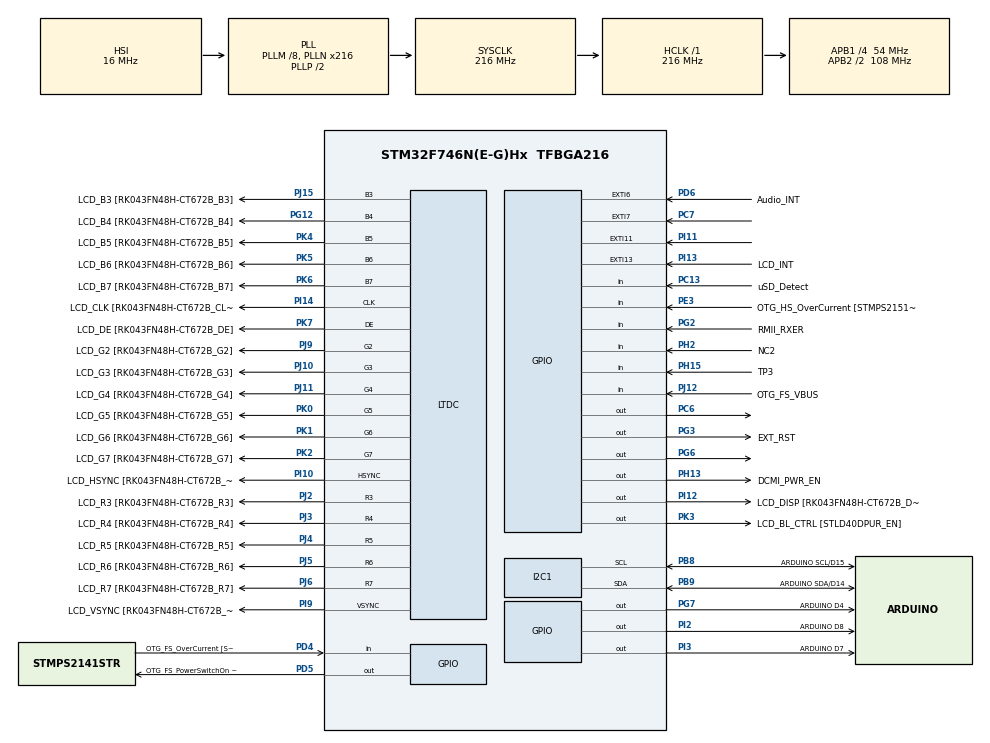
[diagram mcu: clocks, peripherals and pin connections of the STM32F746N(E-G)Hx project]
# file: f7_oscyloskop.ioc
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CORTEX_M7.ART_ACCLERATOR_ENABLE=0
CORTEX_M7.CPU_DCache=Disabled
CORTEX_M7.CPU_ICache=Disabled
CORTEX_M7.FlashInterface=AXI_Enabled
CORTEX_M7.MPU_Control=__NULL
CORTEX_M7.PREFETCH_ENABLE=0
LTDC.ActiveH=272
LTDC.ActiveW=480
LTDC.Blue=0
LTDC.Green=0
LTDC.HBP=13
LTDC.HFP=32
LTDC.HSync=41
LTDC.Red=0
LTDC.VSync=10
Mcu.Family=STM32F7
Mcu.Name=STM32F746N(E-G)Hx
Mcu.Package=TFBGA216
NVIC.EXTI15_10_IRQn=true\:0\:0\:false\:false\:true
NVIC.EXTI9_5_IRQn=true\:1\:0\:true\:false\:true
NVIC.PriorityGroup=NVIC_PRIORITYGROUP_4
NVIC.TIM6_DAC_IRQn=true\:1\:0\:true\:false\:true
NVIC.TIM7_IRQn=true\:1\:0\:true\:false\:true
PA0/WKUP.GPIO_Label=ARDUINO A0
PA0/WKUP.GPIO_Mode=GPIO_MODE_ANALOG
PA0/WKUP.GPIO_PuPd=GPIO_NOPULL
PA0/WKUP.Signal=ADCx_IN0
PA1.GPIO_Label=RMII_REF_CLK [LAN8742A-CZ-TR_REFCLK0]
PA1.Signal=ETH_REF_CLK
PA10.GPIO_Label=OTG_FS_ID
PA10.Signal=USB_OTG_FS_ID
PA11.GPIO_Label=OTG_FS_N
PA11.Signal=USB_OTG_FS_DM
PA12.GPIO_Label=OTG_FS_P
PA12.Signal=USB_OTG_FS_DP
PA13.GPIO_Label=SWDIO
PA13.Signal=SYS_JTMS-SWDIO
PA14.GPIO_Label=SWCLK
PA14.Signal=SYS_JTCK-SWCLK
PA15.GPIO_Label=ARDUINO PWM/D9
PA15.GPIO_ModeDefaultPP=GPIO_MODE_AF_PP
PA15.GPIO_PuPd=GPIO_NOPULL
PA15.GPIO_Speed=GPIO_SPEED_FREQ_LOW
PA15.Signal=S_TIM2_CH1_ETR
PA2.GPIO_Label=RMII_MDIO [LAN8742A-CZ-TR_MDIO]
PA2.Signal=ETH_MDIO
PA3.GPIO_Label=ULPI_D0 [USB3320C-EZK_D0]
PA3.Signal=USB_OTG_HS_ULPI_D0
PA4.GPIO_Label=DCMI_HSYNC
PA4.Signal=DCMI_HSYNC
PA5.GPIO_Label=ULPI_CLK [USB3320C-EZK_CLKOUT]
PA5.Signal=USB_OTG_HS_ULPI_CK
PA6.Signal=DCMI_PIXCLK
PA7.GPIO_Label=RMII_CRS_DV [LAN8742A-CZ-TR_CRS_DV]
PA7.Signal=ETH_CRS_DV
PA8.GPIO_Label=ARDUINO PWM/D5
PA8.GPIO_ModeDefaultPP=GPIO_MODE_AF_PP
PA8.GPIO_PuPd=GPIO_NOPULL
PA8.GPIO_Speed=GPIO_SPEED_FREQ_LOW
PA8.Signal=S_TIM1_CH1
PA9.GPIO_Label=VCP_TX [STM32F103CBT6_PA3]
PA9.GPIO_Mode=GPIO_MODE_AF_PP
PA9.GPIO_PuPd=GPIO_NOPULL
PA9.GPIO_Speed=GPIO_SPEED_FREQ_LOW
PA9.Signal=USART1_TX
PB0.GPIO_Label=ULPI_D1 [USB3320C-EZK_D1]
PB0.Signal=USB_OTG_HS_ULPI_D1
PB1.GPIO_Label=ULPI_D2 [USB3320C-EZK_D2]
PB1.Signal=USB_OTG_HS_ULPI_D2
PB10.GPIO_Label=ULPI_D3 [USB3320C-EZK_D3]
PB10.Signal=USB_OTG_HS_ULPI_D3
PB11.GPIO_Label=ULPI_D4 [USB3320C-EZK_D4]
PB11.Signal=USB_OTG_HS_ULPI_D4
PB12.GPIO_Label=ULPI_D5 [USB3320C-EZK_D5]
PB12.Signal=USB_OTG_HS_ULPI_D5
PB13.GPIO_Label=ULPI_D6 [USB3320C-EZK_D6]
PB13.Signal=USB_OTG_HS_ULPI_D6
PB14.GPIO_Label=ARDUINO MISO/D12
PB14.GPIO_Mode=GPIO_MODE_AF_PP
PB14.GPIO_PuPd=GPIO_NOPULL
PB14.GPIO_Speed=GPIO_SPEED_FREQ_LOW
PB14.Signal=SPI2_MISO
PB15.GPIO_Label=ARDUINO MOSI/PWM/D11
PB15.GPIO_Mode=GPIO_MODE_AF_PP
PB15.GPIO_PuPd=GPIO_NOPULL
PB15.GPIO_Speed=GPIO_SPEED_FREQ_LOW
PB15.Signal=SPI2_MOSI
PB2.Signal=QUADSPI_CLK
PB3.GPIO_Label=SWO
PB3.Signal=SYS_JTDO-SWO
PB4.GPIO_Label=ARDUINO PWM/D3
PB4.GPIO_ModeDefaultPP=GPIO_MODE_AF_PP
PB4.GPIO_PuPd=GPIO_NOPULL
PB4.GPIO_Speed=GPIO_SPEED_FREQ_LOW
PB4.Signal=S_TIM3_CH1
PB5.GPIO_Label=ULPI_D7 [USB3320C-EZK_D7]
PB5.Signal=USB_OTG_HS_ULPI_D7
PB6.GPIO_Label=QSPI_NCS [N25Q128A13EF840E_S]
PB6.Signal=QUADSPI_BK1_NCS
PB7.GPIO_Label=VCP_RX [STM32F103CBT6_PA2]
PB7.GPIO_Mode=GPIO_MODE_AF_PP
PB7.GPIO_PuPd=GPIO_NOPULL
PB7.GPIO_Speed=GPIO_SPEED_FREQ_LOW
PB7.Signal=USART1_RX
PB8.GPIO_Label=ARDUINO SCL/D15
PB8.GPIO_Mode=GPIO_MODE_AF_OD
PB8.GPIO_PuPd=GPIO_NOPULL
PB8.GPIO_Speed=GPIO_SPEED_FREQ_LOW
PB8.Mode=I2C
PB8.Signal=I2C1_SCL
PB9.GPIO_Label=ARDUINO SDA/D14
PB9.GPIO_Mode=GPIO_MODE_AF_OD
PB9.GPIO_PuPd=GPIO_NOPULL
PB9.GPIO_Speed=GPIO_SPEED_FREQ_LOW
PB9.Mode=I2C
PB9.Signal=I2C1_SDA
PC0.GPIO_Label=ULPI_STP [USB3320C-EZK_STP]
PC0.Signal=USB_OTG_HS_ULPI_STP
PC1.GPIO_Label=RMII_MDC [LAN8742A-CZ-TR_MDC]
PC1.Signal=ETH_MDC
PC10.GPIO_Label=SDMMC_D2
PC10.Signal=SDMMC1_D2
PC11.GPIO_Label=SDMMC_D3
PC11.Signal=SDMMC1_D3
PC12.GPIO_Label=SDMMC_CK
PC12.Signal=SDMMC1_CK
PC13.GPIO_Label=uSD_Detect
PC13.Signal=GPIO_Input
PC14/OSC32_IN.GPIO_Label=RCC_OSC32_IN
PC14/OSC32_IN.Signal=RCC_OSC32_IN
PC15/OSC32_OUT.GPIO_Label=RCC_OSC32_OUT
PC15/OSC32_OUT.Signal=RCC_OSC32_OUT
PC2.GPIO_Label=ULPI_DIR [USB3320C-EZK_DIR]
PC2.Signal=USB_OTG_HS_ULPI_DIR
PC3.GPIO_Label=FMC_SDCKE0 [MT48LC4M32B2B5-6A_CKE]
PC3.Signal=FMC_SDCKE0
PC4.GPIO_Label=RMII_RXD0 [LAN8742A-CZ-TR_RXD0]
PC4.Signal=ETH_RXD0
PC5.GPIO_Label=RMII_RXD1 [LAN8742A-CZ-TR_RXD1]
PC5.Signal=ETH_RXD1
PC6.Signal=GPIO_Output
PC7.GPIO_ModeDefaultEXTI=GPIO_MODE_IT_RISING_FALLING
PC7.Signal=GPXTI7
PC8.Signal=SDMMC1_D0
PC9.Signal=SDMMC1_D1
PD0.GPIO_Label=FMC_D2 [MT48LC4M32B2B5-6A_DQ2]
PD0.Signal=FMC_D2_DA2
PD1.GPIO_Label=FMC_D3 [MT48LC4M32B2B5-6A_DQ3]
PD1.Signal=FMC_D3_DA3
PD10.GPIO_Label=FMC_D15 [MT48LC4M32B2B5-6A_DQ15]
PD10.Signal=FMC_D15_DA15
PD11.GPIO_Label=QSPI_D0 [N25Q128A13EF840E_DQ0]
PD11.Signal=QUADSPI_BK1_IO0
PD12.GPIO_Label=QSPI_D1 [N25Q128A13EF840E_DQ1]
PD12.Signal=QUADSPI_BK1_IO1
PD13.GPIO_Label=QSPI_D3 [N25Q128A13EF840E_DQ3]
PD13.Signal=QUADSPI_BK1_IO3
PD14.GPIO_Label=FMC_D0 [MT48LC4M32B2B5-6A_DQ0]
PD14.Signal=FMC_D0_DA0
PD15.GPIO_Label=FMC_D1 [MT48LC4M32B2B5-6A_DQ1]
PD15.Signal=FMC_D1_DA1
PD2.GPIO_Label=SDMMC_D0
PD2.Signal=SDMMC1_CMD
PD3.GPIO_Label=DCMI_D5
PD3.Signal=DCMI_D5
PD4.GPIO_Label=OTG_FS_OverCurrent [STMPS2141STR_Fault]
PD4.Signal=GPIO_Input
PD5.GPIO_Label=OTG_FS_PowerSwitchOn [STMPS2141STR_EN]
PD5.Signal=GPIO_Output
PD6.GPIO_Label=Audio_INT
PD6.GPIO_ModeDefaultEXTI=GPIO_MODE_EVT_RISING
PD6.Signal=GPXTI6
PD7.GPIO_Label=SPDIF_RX0 [74LVC1G04SE_4]
PD7.Signal=SPDIFRX_IN0
PD8.GPIO_Label=FMC_D13 [MT48LC4M32B2B5-6A_DQ13]
PD8.Signal=FMC_D13_DA13
PD9.GPIO_Label=FMC_D14 [MT48LC4M32B2B5-6A_DQ14]
PD9.Signal=FMC_D14_DA14
PE0.GPIO_Label=FMC_NBL0 [MT48LC4M32B2B5-6A_DQM0]
PE0.Signal=FMC_NBL0
PE1.GPIO_Label=FMC_NBL1 [MT48LC4M32B2B5-6A_DQM1]
PE1.Signal=FMC_NBL1
PE10.GPIO_Label=FMC_D7 [MT48LC4M32B2B5-6A_DQ7]
PE10.Signal=FMC_D7_DA7
PE11.GPIO_Label=FMC_D8 [MT48LC4M32B2B5-6A_DQ8]
PE11.Signal=FMC_D8_DA8
PE12.GPIO_Label=FMC_D9 [MT48LC4M32B2B5-6A_DQ9]
PE12.Signal=FMC_D9_DA9
PE13.GPIO_Label=FMC_D10 [MT48LC4M32B2B5-6A_DQ10]
PE13.Signal=FMC_D10_DA10
PE14.GPIO_Label=FMC_D11 [MT48LC4M32B2B5-6A_DQ11]
PE14.Signal=FMC_D11_DA11
PE15.GPIO_Label=FMC_D12 [MT48LC4M32B2B5-6A_DQ12]
PE15.Signal=FMC_D12_DA12
PE2.GPIO_Label=QSPI_D2 [N25Q128A13EF840E_DQ2]
PE2.Signal=QUADSPI_BK1_IO2
PE3.GPIO_Label=OTG_HS_OverCurrent [STMPS2151STR_FAULT]
PE3.Signal=GPIO_Input
PE4.GPIO_Label=LCD_B0 [RK043FN48H-CT672B_B0]
PE4.Signal=LTDC_B0
PE5.GPIO_Label=DCMI_D6
PE5.Signal=DCMI_D6
PE6.GPIO_Label=DCMI_D7
PE6.Signal=DCMI_D7
PE7.GPIO_Label=FMC_D4 [MT48LC4M32B2B5-6A_DQ4]
PE7.Signal=FMC_D4_DA4
PE8.GPIO_Label=FMC_D5 [MT48LC4M32B2B5-6A_DQ5]
PE8.Signal=FMC_D5_DA5
PE9.GPIO_Label=FMC_D6 [MT48LC4M32B2B5-6A_DQ6]
PE9.Signal=FMC_D6_DA6
PF0.GPIO_Label=FMC_A0 [MT48LC4M32B2B5-6A_A0]
PF0.Signal=FMC_A0
PF1.GPIO_Label=FMC_A1 [MT48LC4M32B2B5-6A_A1]
PF1.Signal=FMC_A1
PF10.GPIO_Label=ARDUINO A1
PF10.GPIO_Mode=GPIO_MODE_ANALOG
PF10.GPIO_PuPd=GPIO_NOPULL
PF10.Signal=ADC3_IN8
PF11.GPIO_Label=FMC_SDNRAS [MT48LC4M32B2B5-6A_RAS]
PF11.Signal=FMC_SDNRAS
PF12.GPIO_Label=FMC_A6 [MT48LC4M32B2B5-6A_A6]
PF12.Signal=FMC_A6
PF13.GPIO_Label=FMC_A7 [MT48LC4M32B2B5-6A_A7]
PF13.Signal=FMC_A7
PF14.GPIO_Label=FMC_A8 [MT48LC4M32B2B5-6A_A8]
PF14.Signal=FMC_A8
PF15.GPIO_Label=FMC_A9 [MT48LC4M32B2B5-6A_A9]
PF15.Signal=FMC_A9
PF2.GPIO_Label=FMC_A2 [MT48LC4M32B2B5-6A_A2]
PF2.Signal=FMC_A2
PF3.GPIO_Label=FMC_A3 [MT48LC4M32B2B5-6A_A3]
PF3.Signal=FMC_A3
PF4.GPIO_Label=FMC_A4 [MT48LC4M32B2B5-6A_A4]
PF4.Signal=FMC_A4
PF5.GPIO_Label=FMC_A5 [MT48LC4M32B2B5-6A_A5]
PF5.Signal=FMC_A5
PF6.GPIO_Label=ARDUINO A5
PF6.GPIO_Mode=GPIO_MODE_ANALOG
PF6.GPIO_PuPd=GPIO_NOPULL
PF6.Signal=ADC3_IN4
PF7.GPIO_Label=ARDUINO A4
PF7.GPIO_Mode=GPIO_MODE_ANALOG
PF7.GPIO_PuPd=GPIO_NOPULL
PF7.Signal=ADC3_IN5
PF8.GPIO_Label=ARDUINO A3
PF8.GPIO_Mode=GPIO_MODE_ANALOG
PF8.GPIO_PuPd=GPIO_NOPULL
PF8.Signal=ADC3_IN6
PF9.GPIO_Label=ARDUINO A2
PF9.GPIO_Mode=GPIO_MODE_ANALOG
PF9.GPIO_PuPd=GPIO_NOPULL
PF9.Signal=ADC3_IN7
PG0.GPIO_Label=FMC_A10 [MT48LC4M32B2B5-6A_A10]
PG0.Signal=FMC_A10
PG1.GPIO_Label=FMC_A11 [MT48LC4M32B2B5-6A_A11]
PG1.Signal=FMC_A11
PG10.GPIO_Label=SAI2_SDB [WM8994ECS/R_ADCDAT1]
PG10.Signal=SAI2_SD_B
PG11.GPIO_Label=RMII_TX_EN [LAN8742A-CZ-TR_TXEN]
PG11.Signal=ETH_TX_EN
PG12.GPIO_Label=LCD_B4 [RK043FN48H-CT672B_B4]
PG12.Mode=RGB565
PG12.Signal=LTDC_B4
PG13.GPIO_Label=RMII_TXD0 [LAN8742A-CZ-TR_TXD0]
PG13.Signal=ETH_TXD0
PG14.GPIO_Label=RMII_TXD1 [LAN8742A-CZ-TR_TXD1]
PG14.Signal=ETH_TXD1
PG15.GPIO_Label=FMC_SDNCAS [MT48LC4M32B2B5-6A_CAS]
PG15.Signal=FMC_SDNCAS
PG2.GPIO_Label=RMII_RXER
PG2.Signal=GPIO_Input
PG3.GPIO_Label=EXT_RST
PG3.Signal=GPIO_Output
PG4.GPIO_Label=FMC_BA0 [MT48LC4M32B2B5-6A_BA0]
PG4.Signal=FMC_A14_BA0
PG5.GPIO_Label=FMC_BA1 [MT48LC4M32B2B5-6A_BA1]
PG5.Signal=FMC_A15_BA1
PG6.Signal=GPIO_Output
PG7.GPIO_Label=ARDUINO D4
PG7.Signal=GPIO_Output
PG8.GPIO_Label=FMC_SDCLK [MT48LC4M32B2B5-6A_CLK]
PG8.Signal=FMC_SDCLK
PG9.GPIO_Label=DCMI_VSYNC
PG9.Signal=DCMI_VSYNC
PH0/OSC_IN.GPIO_Label=OSC_25M [NZ2520SB-25.00M_OUT]
PH0/OSC_IN.Signal=RCC_OSC_IN
PH1/OSC_OUT.Signal=RCC_OSC_OUT
PH10.GPIO_Label=DCMI_D1
PH10.Signal=DCMI_D1
PH11.GPIO_Label=DCMI_D2
PH11.Signal=DCMI_D2
PH12.GPIO_Label=DCMI_D3
PH12.Signal=DCMI_D3
PH13.GPIO_Label=DCMI_PWR_EN
PH13.Signal=GPIO_Output
PH14.GPIO_Label=DCMI_D4
PH14.Signal=DCMI_D4
PH15.GPIO_Label=TP3
PH15.Signal=GPIO_Input
PH2.GPIO_Label=NC2
PH2.Signal=GPIO_Input
PH3.GPIO_Label=FMC_SDNE0 [MT48LC4M32B2B5-6A_CS]
PH3.Signal=FMC_SDNE0
PH4.GPIO_Label=ULPI_NXT [USB3320C-EZK_NXT]
PH4.Signal=USB_OTG_HS_ULPI_NXT
PH5.GPIO_Label=FMC_SDNME [MT48LC4M32B2B5-6A_WE]
PH5.Signal=FMC_SDNWE
PH6.GPIO_Label=ARDUINO PWM/D6
PH6.Signal=S_TIM12_CH1
PH7.GPIO_Label=LCD_SCL [RK043FN48H-CT672B_SCL]
PH7.Signal=I2C3_SCL
PH8.GPIO_Label=LCD_SDA [RK043FN48H-CT672B_SDA]
PH8.Signal=I2C3_SDA
PH9.GPIO_Label=DCMI_D0
PH9.Signal=DCMI_D0
PI0.GPIO_Label=ARDUINO PWM/CS/D10
PI0.GPIO_ModeDefaultPP=GPIO_MODE_AF_PP
PI0.GPIO_PuPd=GPIO_NOPULL
PI0.GPIO_Speed=GPIO_SPEED_FREQ_LOW
PI0.Signal=S_TIM5_CH4
PI1.GPIO_Label=ARDUINO SCK/D13
PI1.GPIO_Mode=GPIO_MODE_AF_PP
PI1.GPIO_PuPd=GPIO_NOPULL
PI1.GPIO_Speed=GPIO_SPEED_FREQ_LOW
PI1.Signal=SPI2_SCK
PI10.GPIO_Label=LCD_HSYNC [RK043FN48H-CT672B_HSYNC]
PI10.Mode=RGB565
PI10.Signal=LTDC_HSYNC
PI11.Signal=GPXTI11
PI12.GPIO_Label=LCD_DISP [RK043FN48H-CT672B_DISP] 
PI12.Signal=GPIO_Output
PI13.GPIO_Label=LCD_INT
PI13.GPIO_ModeDefaultEXTI=GPIO_MODE_IT_RISING
PI13.Signal=GPXTI13
PI14.GPIO_Label=LCD_CLK [RK043FN48H-CT672B_CLK]
PI14.Mode=RGB565
PI14.Signal=LTDC_CLK
PI15.GPIO_Label=LCD_R0 [RK043FN48H-CT672B_R0]
PI15.Signal=LTDC_R0
PI2.GPIO_Label=ARDUINO D8
PI2.Signal=GPIO_Output
PI3.GPIO_Label=ARDUINO D7
PI3.Signal=GPIO_Output
PI4.GPIO_Label=SAI2_MCLKA [WM8994ECS/R_MCLK1]
PI4.Signal=SAI2_MCLK_A
PI5.GPIO_Label=SAI2_SCKA [WM8994ECS/R_BCLK1]
PI5.Signal=SAI2_SCK_A
PI6.GPIO_Label=SAI2_SDA [WM8994ECS/R_DACDAT1]
PI6.Signal=SAI2_SD_A
PI7.GPIO_Label=SAI2_FSA [WM8994ECS/R_LRCLK1]
PI7.Signal=SAI2_FS_A
PI8.GPIO_Label=NC1 [TP2]
PI8.Signal=RTC_TS
PI9.GPIO_Label=LCD_VSYNC [RK043FN48H-CT672B_VSYNC]
PI9.Mode=RGB565
PI9.Signal=LTDC_VSYNC
PJ0.GPIO_Label=LCD_R1 [RK043FN48H-CT672B_R1]
PJ0.Signal=LTDC_R1
PJ1.GPIO_Label=LCD_R2 [RK043FN48H-CT672B_R2]
PJ1.Signal=LTDC_R2
PJ10.GPIO_Label=LCD_G3 [RK043FN48H-CT672B_G3]
PJ10.Mode=RGB565
PJ10.Signal=LTDC_G3
PJ11.GPIO_Label=LCD_G4 [RK043FN48H-CT672B_G4]
PJ11.Mode=RGB565
PJ11.Signal=LTDC_G4
PJ12.GPIO_Label=OTG_FS_VBUS
PJ12.Signal=GPIO_Input
PJ13.GPIO_Label=LCD_B1 [RK043FN48H-CT672B_B1]
PJ13.Signal=LTDC_B1
PJ14.GPIO_Label=LCD_B2 [RK043FN48H-CT672B_B2]
PJ14.Signal=LTDC_B2
PJ15.GPIO_Label=LCD_B3 [RK043FN48H-CT672B_B3]
PJ15.Mode=RGB565
PJ15.Signal=LTDC_B3
PJ2.GPIO_Label=LCD_R3 [RK043FN48H-CT672B_R3]
PJ2.Mode=RGB565
PJ2.Signal=LTDC_R3
PJ3.GPIO_Label=LCD_R4 [RK043FN48H-CT672B_R4]
PJ3.Mode=RGB565
PJ3.Signal=LTDC_R4
PJ4.GPIO_Label=LCD_R5 [RK043FN48H-CT672B_R5]
PJ4.Mode=RGB565
PJ4.Signal=LTDC_R5
PJ5.GPIO_Label=LCD_R6 [RK043FN48H-CT672B_R6]
PJ5.Mode=RGB565
PJ5.Signal=LTDC_R6
PJ6.GPIO_Label=LCD_R7 [RK043FN48H-CT672B_R7]
PJ6.Mode=RGB565
PJ6.Signal=LTDC_R7
PJ7.GPIO_Label=LCD_G0 [RK043FN48H-CT672B_G0]
PJ7.Signal=LTDC_G0
PJ8.GPIO_Label=LCD_G1 [RK043FN48H-CT672B_G1]
PJ8.Signal=LTDC_G1
PJ9.GPIO_Label=LCD_G2 [RK043FN48H-CT672B_G2]
PJ9.Mode=RGB565
PJ9.Signal=LTDC_G2
PK0.GPIO_Label=LCD_G5 [RK043FN48H-CT672B_G5]
PK0.Mode=RGB565
PK0.Signal=LTDC_G5
PK1.GPIO_Label=LCD_G6 [RK043FN48H-CT672B_G6]
PK1.Mode=RGB565
PK1.Signal=LTDC_G6
PK2.GPIO_Label=LCD_G7 [RK043FN48H-CT672B_G7]
PK2.Mode=RGB565
PK2.Signal=LTDC_G7
PK3.GPIO_Label=LCD_BL_CTRL [STLD40DPUR_EN]
PK3.Signal=GPIO_Output
PK4.GPIO_Label=LCD_B5 [RK043FN48H-CT672B_B5]
PK4.Mode=RGB565
PK4.Signal=LTDC_B5
PK5.GPIO_Label=LCD_B6 [RK043FN48H-CT672B_B6]
PK5.Mode=RGB565
PK5.Signal=LTDC_B6
PK6.GPIO_Label=LCD_B7 [RK043FN48H-CT672B_B7]
PK6.Mode=RGB565
PK6.Signal=LTDC_B7
PK7.GPIO_Label=LCD_DE [RK043FN48H-CT672B_DE]
PK7.Mode=RGB565
PK7.Signal=LTDC_DE
ProjectManager.HeapSize=0x400
ProjectManager.StackSize=0x200
ProjectManager.TargetToolchain=SW4STM32
RCC.AHBFreq_Value=216000000
RCC.APB1CLKDivider=RCC_HCLK_DIV4
RCC.APB1Freq_Value=54000000
RCC.APB1TimFreq_Value=108000000
RCC.APB2CLKDivider=RCC_HCLK_DIV2
RCC.APB2Freq_Value=108000000
RCC.APB2TimFreq_Value=216000000
RCC.CortexFreq_Value=216000000
RCC.HCLKFreq_Value=216000000
RCC.HSE_VALUE=25000000
RCC.HSI_VALUE=16000000
RCC.LSE_VALUE=32768
RCC.PLLM=8
RCC.PLLN=216
RCC.PLLSAIN=50
RCC.PLLSourceVirtual=RCC_PLLSOURCE_HSI
RCC.SYSCLKFreq_VALUE=216000000
RCC.SYSCLKSource=RCC_SYSCLKSOURCE_PLLCLK
RCC.USBFreq_Value=216000000
RCC.VCOOutputFreq_Value=432000000
SH.ADCx_IN0.0=ADC3_IN0
SH.FMC_A0.0=FMC_A0
SH.FMC_A1.0=FMC_A1
SH.FMC_A10.0=FMC_A10
SH.FMC_A11.0=FMC_A11
SH.FMC_A14_BA0.0=FMC_BA0
SH.FMC_A15_BA1.0=FMC_BA1
SH.FMC_A2.0=FMC_A2
SH.FMC_A3.0=FMC_A3
SH.FMC_A4.0=FMC_A4
SH.FMC_A5.0=FMC_A5
SH.FMC_A6.0=FMC_A6
SH.FMC_A7.0=FMC_A7
SH.FMC_A8.0=FMC_A8
SH.FMC_A9.0=FMC_A9
SH.FMC_D0_DA0.0=FMC_D0
SH.FMC_D10_DA10.0=FMC_D10
SH.FMC_D11_DA11.0=FMC_D11
SH.FMC_D12_DA12.0=FMC_D12
SH.FMC_D13_DA13.0=FMC_D13
SH.FMC_D14_DA14.0=FMC_D14
SH.FMC_D15_DA15.0=FMC_D15
SH.FMC_D1_DA1.0=FMC_D1
SH.FMC_D2_DA2.0=FMC_D2
SH.FMC_D3_DA3.0=FMC_D3
SH.FMC_D4_DA4.0=FMC_D4
SH.FMC_D5_DA5.0=FMC_D5
SH.FMC_D6_DA6.0=FMC_D6
SH.FMC_D7_DA7.0=FMC_D7
SH.FMC_D8_DA8.0=FMC_D8
SH.FMC_D9_DA9.0=FMC_D9
SH.FMC_NBL0.0=FMC_NBL0
SH.FMC_NBL1.0=FMC_NBL1
SH.FMC_SDCLK.0=FMC_SDCLK
SH.FMC_SDNCAS.0=FMC_SDNCAS
SH.FMC_SDNRAS.0=FMC_SDNRAS
SH.FMC_SDNWE.0=FMC_SDNWE
SH.S_TIM12_CH1.0=TIM12_CH1
SH.S_TIM1_CH1.0=TIM1_CH1
SH.S_TIM2_CH1_ETR.0=TIM2_CH1
SH.S_TIM3_CH1.0=TIM3_CH1
SH.S_TIM5_CH4.0=TIM5_CH4
TIM6.Period=10800
TIM6.Prescaler=100-1
TIM7.Period=10800
TIM7.Prescaler=10-1
VP_TIM6_VS_ClockSourceINT.Mode=Enable_Timer
VP_TIM7_VS_ClockSourceINT.Mode=Enable_Timer
board=STM32F746G-DISCO

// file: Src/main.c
/**
  ******************************************************************************
  * File Name          : main.c
  * Description        : Main program body
  ******************************************************************************
  *
  * COPYRIGHT(c) 2016 STMicroelectronics
  *
  * Redistribution and use in source and binary forms, with or without modification,
  * are permitted provided that the following conditions are met:
  *   1. Redistributions of source code must retain the above copyright notice,
  *      this list of conditions and the following disclaimer.
  *   2. Redistributions in binary form must reproduce the above copyright notice,
  *      this list of conditions and the following disclaimer in the documentation
  *      and/or other materials provided with the distribution.
  *   3. Neither the name of STMicroelectronics nor the names of its contributors
  *      may be used to endorse or promote products derived from this software
  *      without specific prior written permission.
  *
  * THIS SOFTWARE IS PROVIDED BY THE COPYRIGHT HOLDERS AND CONTRIBUTORS "AS IS"
  * AND ANY EXPRESS OR IMPLIED WARRANTIES, INCLUDING, BUT NOT LIMITED TO, THE
  * IMPLIED WARRANTIES OF MERCHANTABILITY AND FITNESS FOR A PARTICULAR PURPOSE ARE
  * DISCLAIMED. IN NO EVENT SHALL THE COPYRIGHT HOLDER OR CONTRIBUTORS BE LIABLE
  * FOR ANY DIRECT, INDIRECT, INCIDENTAL, SPECIAL, EXEMPLARY, OR CONSEQUENTIAL
  * DAMAGES (INCLUDING, BUT NOT LIMITED TO, PROCUREMENT OF SUBSTITUTE GOODS OR
  * SERVICES; LOSS OF USE, DATA, OR PROFITS; OR BUSINESS INTERRUPTION) HOWEVER
  * CAUSED AND ON ANY THEORY OF LIABILITY, WHETHER IN CONTRACT, STRICT LIABILITY,
  * OR TORT (INCLUDING NEGLIGENCE OR OTHERWISE) ARISING IN ANY WAY OUT OF THE USE
  * OF THIS SOFTWARE, EVEN IF ADVISED OF THE POSSIBILITY OF SUCH DAMAGE.
  *
  ******************************************************************************
  */
#include "stm32f7xx_hal.h"
#include "i2c.h"
#include "ltdc.h"
#include "tim.h"
#include "gpio.h"

/* USER CODE BEGIN Includes */
#include "lcd.h"
#include "interfejs.h"
//#include "RGB565_480x272.h"
/* USER CODE END Includes */

/* USER CODE BEGIN PV */
/* Private variables ---------------------------------------------------------*/

/* USER CODE END PV */

void SystemClock_Config(void);

/* USER CODE BEGIN PFP */
/* Private function prototypes -----------------------------------------------*/

/* USER CODE END PFP */

/* USER CODE BEGIN 0 */

uint8_t flaga_wyswietl = 0;

uint8_t tryb = 0;

uint8_t bufor[480];

uint8_t podstawa_czasu = 3;
uint8_t podstawa_czasu_zmiana = 0;

uint8_t ch1 = 0, ch1_poprzednie = 0;
/* USER CODE END 0 */

int main(void)
{

  /* MCU Configuration----------------------------------------------------------*/

  /* Reset of all peripherals, Initializes the Flash interface and the Systick. */
  HAL_Init();

  /* Configure the system clock */
  SystemClock_Config();

  /* Initialize all configured peripherals */
  MX_GPIO_Init();
  MX_LTDC_Init();
  MX_TIM6_Init();
  MX_I2C1_Init();
  MX_TIM7_Init();

  /* USER CODE BEGIN 2 */
 // HAL_I2C_IsDeviceReady(&hi2c1, LCD_ADDR, 10, 1);

  lcd_init();

  HAL_TIM_Base_Start_IT(&htim6);
  HAL_TIM_Base_Start_IT(&htim7);

  tryb = 0;

  wyswietl_interfejs(0, 9, 0b1111111111100000, 1);
  wyswietl_ikony();

  HAL_GPIO_WritePin(GPIOC, GPIO_PIN_6, GPIO_PIN_RESET);
  /* USER CODE END 2 */

  /* Infinite loop */
  while (1)
  {

  /* USER CODE BEGIN 3 */
	  //if(flaga_wyswietl == 1)
	  //{
		//  HAL_LTDC_ConfigLayer(&hltdc, &hltdc.LayerCfg[1], 1);
		//  flaga_wyswietl = 0;
	  //}
  }
  /* USER CODE END 3 */

}

/** System Clock Configuration
*/
void SystemClock_Config(void)
{

  RCC_OscInitTypeDef RCC_OscInitStruct;
  RCC_ClkInitTypeDef RCC_ClkInitStruct;
  RCC_PeriphCLKInitTypeDef PeriphClkInitStruct;

  __HAL_RCC_PWR_CLK_ENABLE();

  __HAL_PWR_VOLTAGESCALING_CONFIG(PWR_REGULATOR_VOLTAGE_SCALE1);

  RCC_OscInitStruct.OscillatorType = RCC_OSCILLATORTYPE_HSI;
  RCC_OscInitStruct.HSIState = RCC_HSI_ON;
  RCC_OscInitStruct.HSICalibrationValue = 16;
  RCC_OscInitStruct.PLL.PLLState = RCC_PLL_ON;
  RCC_OscInitStruct.PLL.PLLSource = RCC_PLLSOURCE_HSI;
  RCC_OscInitStruct.PLL.PLLM = 8;
  RCC_OscInitStruct.PLL.PLLN = 216;
  RCC_OscInitStruct.PLL.PLLP = RCC_PLLP_DIV2;
  RCC_OscInitStruct.PLL.PLLQ = 2;
  HAL_RCC_OscConfig(&RCC_OscInitStruct);

  HAL_PWREx_EnableOverDrive();

  RCC_ClkInitStruct.ClockType = RCC_CLOCKTYPE_HCLK|RCC_CLOCKTYPE_SYSCLK
                              |RCC_CLOCKTYPE_PCLK1|RCC_CLOCKTYPE_PCLK2;
  RCC_ClkInitStruct.SYSCLKSource = RCC_SYSCLKSOURCE_PLLCLK;
  RCC_ClkInitStruct.AHBCLKDivider = RCC_SYSCLK_DIV1;
  RCC_ClkInitStruct.APB1CLKDivider = RCC_HCLK_DIV4;
  RCC_ClkInitStruct.APB2CLKDivider = RCC_HCLK_DIV2;
  HAL_RCC_ClockConfig(&RCC_ClkInitStruct, FLASH_LATENCY_7);

  PeriphClkInitStruct.PeriphClockSelection = RCC_PERIPHCLK_LTDC|RCC_PERIPHCLK_I2C1;
  PeriphClkInitStruct.PLLSAI.PLLSAIN = 50;
  PeriphClkInitStruct.PLLSAI.PLLSAIR = 2;
  PeriphClkInitStruct.PLLSAI.PLLSAIQ = 2;
  PeriphClkInitStruct.PLLSAI.PLLSAIP = RCC_PLLSAIP_DIV2;
  PeriphClkInitStruct.PLLSAIDivQ = 1;
  PeriphClkInitStruct.PLLSAIDivR = RCC_PLLSAIDIVR_2;
  PeriphClkInitStruct.I2c1ClockSelection = RCC_I2C1CLKSOURCE_PCLK1;
  HAL_RCCEx_PeriphCLKConfig(&PeriphClkInitStruct);

  HAL_SYSTICK_Config(HAL_RCC_GetHCLKFreq()/1000);

  HAL_SYSTICK_CLKSourceConfig(SYSTICK_CLKSOURCE_HCLK);

  /* SysTick_IRQn interrupt configuration */
  HAL_NVIC_SetPriority(SysTick_IRQn, 0, 0);
}

/* USER CODE BEGIN 4 */

void HAL_TIM_PeriodElapsedCallback (TIM_HandleTypeDef *htim)
{
	static uint32_t czas = 0;
	uint16_t i;
	if(htim ->Instance == TIM6)
	{
		if(tryb == 0)
		{
			if(ch1 != ch1_poprzednie) lcd_drawVline(1, 21, czas+30, 0b1111111111100000);
			ch1_poprzednie = ch1;
			if(ch1 == 1)
				lcd_setpixel(czas+30, 1, 0b1111111111100000);
			else
				lcd_setpixel(czas+30, 21, 0b1111111111100000);

			for(i = czas+31; i < czas+30+20; i++)
			{
				if(i < IKONY_KRAWEDZ)
				{
					lcd_drawVline(1, 21, i, 0);
				}
				else
				{
					lcd_drawVline(1, 21, INTERFEJS_KRAWEDZ + i%IKONY_KRAWEDZ+1, 0);
				}
			}
			if(czas + 30 == IKONY_KRAWEDZ - 1) czas = 0;
		}
		else
		{

		}

		czas++;

		//if(czas == 100) flaga_wyswietl = 1;
	}
	else if(htim -> Instance == TIM7)
	{
		HAL_LTDC_ConfigLayer(&hltdc, &hltdc.LayerCfg[1], 1);
	}
}

void HAL_GPIO_EXTI_Callback (uint16_t GPIO_Pin)
{
	if(GPIO_Pin == GPIO_PIN_7)
	{
		ch1 = HAL_GPIO_ReadPin(GPIOC, GPIO_PIN_7);
	}
	else if(GPIO_Pin == GPIO_PIN_11)
	{
		podstawa_czasu++;
		if(podstawa_czasu >= 5) podstawa_czasu = 1;
		  if(podstawa_czasu == 0)
		  {
			  TIM6->PSC = 10-1;
			  TIM6->ARR = 108;
		  }
		  else if(podstawa_czasu == 1)
		  {
			  TIM6->PSC = 10-1;
			  TIM6->ARR = 1080;
		  }
		  else if(podstawa_czasu == 2)
		  {
			  TIM6->PSC = 10-1;
			  TIM6->ARR = 10800;
		  }
		  else if(podstawa_czasu == 3)
		  {
			  TIM6->PSC = 100-1;
			  TIM6->ARR = 10800;
		  }
		  else if(podstawa_czasu == 4)
		  {
			  TIM6->PSC = 1000-1;
			  TIM6->ARR = 10800;
		  }
		  else if(podstawa_czasu == 5)
		  {
			  TIM6->PSC = 10000-1;
			  TIM6->ARR = 10800;
		  }
	}
	else if(GPIO_Pin == GPIO_PIN_13)
	{
		HAL_GPIO_TogglePin(GPIOC, GPIO_PIN_6);
	}
}
/* USER CODE END 4 */

/************************ (C) COPYRIGHT STMicroelectronics *****END OF FILE****/
